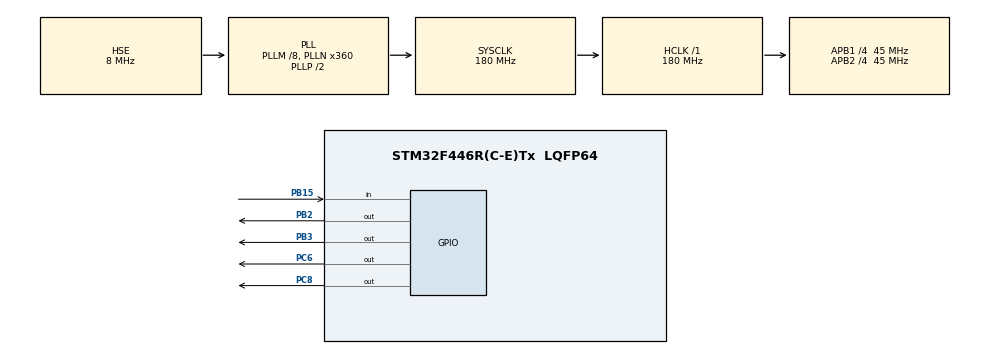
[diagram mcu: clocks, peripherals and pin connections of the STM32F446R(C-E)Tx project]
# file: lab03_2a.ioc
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FREERTOS.Tasks01=runningLED,24,128,runningLEDThread,Default,NULL,Dynamic,NULL,NULL;switchInput,8,128,switchInputThread,Default,NULL,Dynamic,NULL,NULL
FREERTOS.configUSE_NEWLIB_REENTRANT=1
Mcu.Family=STM32F4
Mcu.Name=STM32F446R(C-E)Tx
Mcu.Package=LQFP64
NVIC.PriorityGroup=NVIC_PRIORITYGROUP_4
NVIC.TIM7_IRQn=true\:15\:0\:false\:false\:true\:false\:false\:true\:true
NVIC.TimeBase=TIM7_IRQn
NVIC.TimeBaseIP=TIM7
PA13.Mode=Serial_Wire
PA13.Signal=SYS_JTMS-SWDIO
PA14.Mode=Serial_Wire
PA14.Signal=SYS_JTCK-SWCLK
PB15.Signal=GPIO_Input
PB2.Signal=GPIO_Output
PB3.Signal=GPIO_Output
PC6.Signal=GPIO_Output
PC8.Signal=GPIO_Output
PH0-OSC_IN.Mode=HSE-External-Oscillator
PH0-OSC_IN.Signal=RCC_OSC_IN
PH1-OSC_OUT.Mode=HSE-External-Oscillator
PH1-OSC_OUT.Signal=RCC_OSC_OUT
ProjectManager.HeapSize=0x200
ProjectManager.StackSize=0x400
ProjectManager.TargetToolchain=STM32CubeIDE
RCC.AHBFreq_Value=180000000
RCC.APB1CLKDivider=RCC_HCLK_DIV4
RCC.APB1Freq_Value=45000000
RCC.APB1TimFreq_Value=90000000
RCC.APB2CLKDivider=RCC_HCLK_DIV4
RCC.APB2Freq_Value=45000000
RCC.APB2TimFreq_Value=90000000
RCC.CortexFreq_Value=180000000
RCC.HCLKFreq_Value=180000000
RCC.HSE_VALUE=8000000
RCC.PLLM=8
RCC.PLLN=360
RCC.PLLSourceVirtual=RCC_PLLSOURCE_HSE
RCC.SYSCLKFreq_VALUE=180000000
RCC.SYSCLKSource=RCC_SYSCLKSOURCE_PLLCLK
RCC.USBFreq_Value=180000000
RCC.VCOOutputFreq_Value=360000000
VP_FREERTOS_VS_CMSIS_V2.Mode=CMSIS_V2
VP_SYS_VS_tim7.Mode=TIM7
board=custom

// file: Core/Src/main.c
/* USER CODE BEGIN Header */
/**
  ******************************************************************************
  * @file           : main.c
  * @brief          : Main program body
  ******************************************************************************
  * @attention
  *
  * Copyright (c) 2026 STMicroelectronics.
  * All rights reserved.
  *
  * This software is licensed under terms that can be found in the LICENSE file
  * in the root directory of this software component.
  * If no LICENSE file comes with this software, it is provided AS-IS.
  *
  ******************************************************************************
  */
/* USER CODE END Header */
#include "main.h"
#include "cmsis_os.h"

/* USER CODE BEGIN PD */
#define SW_PORT GPIOB
#define SW_PIN	GPIO_PIN_15
/* USER CODE END PD */

/* Definitions for runningLED */
osThreadId_t runningLEDHandle;
const osThreadAttr_t runningLED_attributes = {
  .name = "runningLED",
  .stack_size = 128 * 4,
  .priority = (osPriority_t) osPriorityNormal,
};
/* Definitions for switchInput */
osThreadId_t switchInputHandle;
const osThreadAttr_t switchInput_attributes = {
  .name = "switchInput",
  .stack_size = 128 * 4,
  .priority = (osPriority_t) osPriorityLow,
};
/* USER CODE BEGIN PV */
GPIO_TypeDef *ledPort[4] = {GPIOB,GPIOC,GPIOC,GPIOB};
int ledGPIO[4] = {GPIO_PIN_2,GPIO_PIN_6,GPIO_PIN_8,GPIO_PIN_3};
int runningSpeed = 5;
int pattern[4][4] = {{1,0,0,0},{0,1,0,0},{0,0,1,0},{0,0,0,1}};
/* USER CODE END PV */

void SystemClock_Config(void);
static void MX_GPIO_Init(void);
void runningLEDThread(void *argument);
void switchInputThread(void *argument);

int main(void)
{

  /* MCU Configuration--------------------------------------------------------*/

  /* Reset of all peripherals, Initializes the Flash interface and the Systick. */
  HAL_Init();

  /* Configure the system clock */
  SystemClock_Config();

  /* Initialize all configured peripherals */
  MX_GPIO_Init();

  /* Init scheduler */
  osKernelInitialize();

  /* Create the thread(s) */
  /* creation of runningLED */
  runningLEDHandle = osThreadNew(runningLEDThread, NULL, &runningLED_attributes);

  /* creation of switchInput */
  switchInputHandle = osThreadNew(switchInputThread, NULL, &switchInput_attributes);

  /* Start scheduler */
  osKernelStart();

  /* We should never get here as control is now taken by the scheduler */

  /* Infinite loop */
  while (1)
  {

  }
}

void SystemClock_Config(void)
{
  RCC_OscInitTypeDef RCC_OscInitStruct = {0};
  RCC_ClkInitTypeDef RCC_ClkInitStruct = {0};

  /** Configure the main internal regulator output voltage
  */
  __HAL_RCC_PWR_CLK_ENABLE();
  __HAL_PWR_VOLTAGESCALING_CONFIG(PWR_REGULATOR_VOLTAGE_SCALE1);

  /** Initializes the RCC Oscillators according to the specified parameters
  * in the RCC_OscInitTypeDef structure.
  */
  RCC_OscInitStruct.OscillatorType = RCC_OSCILLATORTYPE_HSE;
  RCC_OscInitStruct.HSEState = RCC_HSE_ON;
  RCC_OscInitStruct.PLL.PLLState = RCC_PLL_ON;
  RCC_OscInitStruct.PLL.PLLSource = RCC_PLLSOURCE_HSE;
  RCC_OscInitStruct.PLL.PLLM = 8;
  RCC_OscInitStruct.PLL.PLLN = 360;
  RCC_OscInitStruct.PLL.PLLP = RCC_PLLP_DIV2;
  RCC_OscInitStruct.PLL.PLLQ = 2;
  RCC_OscInitStruct.PLL.PLLR = 2;
  if (HAL_RCC_OscConfig(&RCC_OscInitStruct) != HAL_OK)
  {
    Error_Handler();
  }

  /** Activate the Over-Drive mode
  */
  if (HAL_PWREx_EnableOverDrive() != HAL_OK)
  {
    Error_Handler();
  }

  /** Initializes the CPU, AHB and APB buses clocks
  */
  RCC_ClkInitStruct.ClockType = RCC_CLOCKTYPE_HCLK|RCC_CLOCKTYPE_SYSCLK
                              |RCC_CLOCKTYPE_PCLK1|RCC_CLOCKTYPE_PCLK2;
  RCC_ClkInitStruct.SYSCLKSource = RCC_SYSCLKSOURCE_PLLCLK;
  RCC_ClkInitStruct.AHBCLKDivider = RCC_SYSCLK_DIV1;
  RCC_ClkInitStruct.APB1CLKDivider = RCC_HCLK_DIV4;
  RCC_ClkInitStruct.APB2CLKDivider = RCC_HCLK_DIV4;

  if (HAL_RCC_ClockConfig(&RCC_ClkInitStruct, FLASH_LATENCY_5) != HAL_OK)
  {
    Error_Handler();
  }
}

static void MX_GPIO_Init(void)
{
  GPIO_InitTypeDef GPIO_InitStruct = {0};

  /* GPIO Ports Clock Enable */
  __HAL_RCC_GPIOH_CLK_ENABLE();
  __HAL_RCC_GPIOB_CLK_ENABLE();
  __HAL_RCC_GPIOC_CLK_ENABLE();
  __HAL_RCC_GPIOA_CLK_ENABLE();

  /*Configure GPIO pin Output Level */
  HAL_GPIO_WritePin(GPIOB, GPIO_PIN_2|GPIO_PIN_3, GPIO_PIN_RESET);

  /*Configure GPIO pin Output Level */
  HAL_GPIO_WritePin(GPIOC, GPIO_PIN_6|GPIO_PIN_8, GPIO_PIN_RESET);

  /*Configure GPIO pins : PB2 PB3 */
  GPIO_InitStruct.Pin = GPIO_PIN_2|GPIO_PIN_3;
  GPIO_InitStruct.Mode = GPIO_MODE_OUTPUT_PP;
  GPIO_InitStruct.Pull = GPIO_NOPULL;
  GPIO_InitStruct.Speed = GPIO_SPEED_FREQ_LOW;
  HAL_GPIO_Init(GPIOB, &GPIO_InitStruct);

  /*Configure GPIO pin : PB15 */
  GPIO_InitStruct.Pin = GPIO_PIN_15;
  GPIO_InitStruct.Mode = GPIO_MODE_INPUT;
  GPIO_InitStruct.Pull = GPIO_NOPULL;
  HAL_GPIO_Init(GPIOB, &GPIO_InitStruct);

  /*Configure GPIO pins : PC6 PC8 */
  GPIO_InitStruct.Pin = GPIO_PIN_6|GPIO_PIN_8;
  GPIO_InitStruct.Mode = GPIO_MODE_OUTPUT_PP;
  GPIO_InitStruct.Pull = GPIO_NOPULL;
  GPIO_InitStruct.Speed = GPIO_SPEED_FREQ_LOW;
  HAL_GPIO_Init(GPIOC, &GPIO_InitStruct);

}

void runningLEDThread(void *argument)
{
  /* USER CODE BEGIN 5 */
	int i,j;
  /* Infinite loop */
  for(;;)
  {
	  for(i=0;i<4;i++){
		  for(j=0;j<4;j++){
			  HAL_GPIO_WritePin(ledPort[j],ledGPIO[j],pattern[j][i]);
		  }
		  osDelay(runningSpeed*50);
	  }
  }
  /* USER CODE END 5 */
}

void switchInputThread(void *argument)
{
  /* USER CODE BEGIN switchInputThread */
  /* Infinite loop */
  for(;;)
  {
	  if(!HAL_GPIO_ReadPin(SW_PORT,SW_PIN)){
		  osDelay(50);
		  while(!HAL_GPIO_ReadPin(SW_PORT,SW_PIN))
			  osDelay(50);
		  if(runningSpeed>1)
			  runningSpeed=1;
		  else
			  runningSpeed=5;
	  }
      osDelay(10);
  }
  /* USER CODE END switchInputThread */
}

void HAL_TIM_PeriodElapsedCallback(TIM_HandleTypeDef *htim)
{
  if (htim->Instance == TIM7)
  {
    HAL_IncTick();
  }
}

void Error_Handler(void)
{
  __disable_irq();
  while (1)
  {
  }
}
